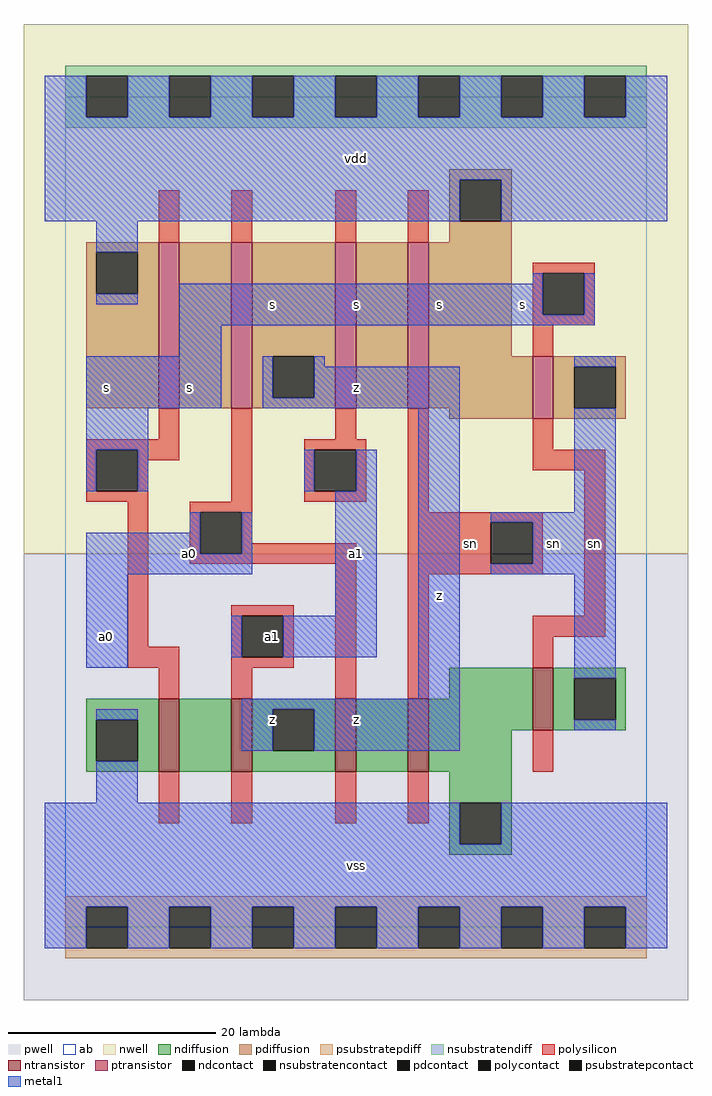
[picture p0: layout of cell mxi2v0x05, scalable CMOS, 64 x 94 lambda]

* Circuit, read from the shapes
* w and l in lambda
.subckt mxi2v0x05 a0 a1 s sn vdd vss z
M1 n1 s vss vss nfet w=7 l=2
M2 z a1 n1 vss nfet w=7 l=2
M3 n2 a0 z vss nfet w=7 l=2
M4 vss sn n2 vss nfet w=7 l=2
M5 sn s vss vss nfet w=6 l=2
M6 n3 s vdd vdd pfet w=16 l=2
M7 z a0 n3 vdd pfet w=16 l=2
M8 n4 a1 z vdd pfet w=16 l=2
M9 vdd sn n4 vdd pfet w=16 l=2
M10 sn s vdd vdd pfet w=6 l=2
.ends

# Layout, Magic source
magic
tech scmos
<< ab >>
rect 0 0 56 80
<< pwell >>
rect -4 -7 60 36
<< nwell >>
rect -4 36 60 87
<< polysilicon >>
rect 9 66 11 71
rect 16 66 18 71
rect 26 66 28 71
rect 33 66 35 71
rect 45 63 51 64
rect 45 59 46 63
rect 50 59 51 63
rect 45 58 51 59
rect 45 55 47 58
rect 9 47 11 50
rect 2 46 11 47
rect 2 42 3 46
rect 7 45 11 46
rect 7 42 8 45
rect 2 41 8 42
rect 16 41 18 50
rect 26 47 28 50
rect 23 46 29 47
rect 23 42 24 46
rect 28 42 29 46
rect 23 41 29 42
rect 6 27 8 41
rect 12 40 18 41
rect 12 36 13 40
rect 17 37 18 40
rect 33 40 35 50
rect 45 46 47 49
rect 45 44 52 46
rect 33 39 46 40
rect 17 36 28 37
rect 12 35 28 36
rect 16 30 22 31
rect 6 25 11 27
rect 9 22 11 25
rect 16 26 17 30
rect 21 26 22 30
rect 16 25 22 26
rect 16 22 18 25
rect 26 22 28 35
rect 33 35 41 39
rect 45 35 46 39
rect 33 34 46 35
rect 33 22 35 34
rect 50 30 52 44
rect 45 28 52 30
rect 45 25 47 28
rect 45 15 47 19
rect 9 10 11 15
rect 16 10 18 15
rect 26 10 28 15
rect 33 10 35 15
<< ndiffusion >>
rect 37 22 45 25
rect 2 20 9 22
rect 2 16 3 20
rect 7 16 9 20
rect 2 15 9 16
rect 11 15 16 22
rect 18 21 26 22
rect 18 17 20 21
rect 24 17 26 21
rect 18 15 26 17
rect 28 15 33 22
rect 35 19 45 22
rect 47 24 54 25
rect 47 20 49 24
rect 53 20 54 24
rect 47 19 54 20
rect 35 15 43 19
rect 37 12 43 15
rect 37 8 38 12
rect 42 8 43 12
rect 37 7 43 8
<< pdiffusion >>
rect 37 72 43 73
rect 37 68 38 72
rect 42 68 43 72
rect 37 66 43 68
rect 2 65 9 66
rect 2 61 3 65
rect 7 61 9 65
rect 2 50 9 61
rect 11 50 16 66
rect 18 55 26 66
rect 18 51 20 55
rect 24 51 26 55
rect 18 50 26 51
rect 28 50 33 66
rect 35 55 43 66
rect 35 50 45 55
rect 37 49 45 50
rect 47 54 54 55
rect 47 50 49 54
rect 53 50 54 54
rect 47 49 54 50
<< metal1 >>
rect -2 78 2 82
rect 6 78 10 82
rect 14 78 18 82
rect 22 78 26 82
rect 30 78 34 82
rect 38 78 42 82
rect 46 78 50 82
rect 54 78 58 82
rect -2 72 58 78
rect -2 68 38 72
rect 42 68 58 72
rect 3 65 7 68
rect 45 62 46 63
rect 3 60 7 61
rect 11 59 46 62
rect 50 59 51 63
rect 11 58 51 59
rect 11 55 15 58
rect 2 50 15 55
rect 19 51 20 55
rect 24 54 25 55
rect 49 54 53 55
rect 24 51 38 54
rect 19 50 38 51
rect 2 46 8 50
rect 2 42 3 46
rect 7 42 8 46
rect 23 42 24 46
rect 28 42 30 46
rect 12 38 13 40
rect 2 36 13 38
rect 17 36 18 40
rect 2 34 18 36
rect 2 25 6 34
rect 26 30 30 42
rect 16 26 17 30
rect 21 26 30 30
rect 34 22 38 50
rect 49 40 53 50
rect 41 39 53 40
rect 45 35 53 39
rect 41 34 53 35
rect 17 21 38 22
rect 3 20 7 21
rect 17 17 20 21
rect 24 17 38 21
rect 49 24 53 34
rect 49 19 53 20
rect 3 12 7 16
rect -2 8 38 12
rect 42 8 58 12
rect -2 2 58 8
rect -2 -2 2 2
rect 6 -2 10 2
rect 14 -2 18 2
rect 22 -2 26 2
rect 30 -2 34 2
rect 38 -2 42 2
rect 46 -2 50 2
rect 54 -2 58 2
<< ntransistor >>
rect 9 15 11 22
rect 16 15 18 22
rect 26 15 28 22
rect 33 15 35 22
rect 45 19 47 25
<< ptransistor >>
rect 9 50 11 66
rect 16 50 18 66
rect 26 50 28 66
rect 33 50 35 66
rect 45 49 47 55
<< polycontact >>
rect 46 59 50 63
rect 3 42 7 46
rect 24 42 28 46
rect 13 36 17 40
rect 17 26 21 30
rect 41 35 45 39
<< ndcontact >>
rect 3 16 7 20
rect 20 17 24 21
rect 49 20 53 24
rect 38 8 42 12
<< pdcontact >>
rect 38 68 42 72
rect 3 61 7 65
rect 20 51 24 55
rect 49 50 53 54
<< psubstratepcontact >>
rect 2 -2 6 2
rect 10 -2 14 2
rect 18 -2 22 2
rect 26 -2 30 2
rect 34 -2 38 2
rect 42 -2 46 2
rect 50 -2 54 2
<< nsubstratencontact >>
rect 2 78 6 82
rect 10 78 14 82
rect 18 78 22 82
rect 26 78 30 82
rect 34 78 38 82
rect 42 78 46 82
rect 50 78 54 82
<< psubstratepdiff >>
rect 0 2 56 3
rect 0 -2 2 2
rect 6 -2 10 2
rect 14 -2 18 2
rect 22 -2 26 2
rect 30 -2 34 2
rect 38 -2 42 2
rect 46 -2 50 2
rect 54 -2 56 2
rect 0 -3 56 -2
<< nsubstratendiff >>
rect 0 82 56 83
rect 0 78 2 82
rect 6 78 10 82
rect 14 78 18 82
rect 22 78 26 82
rect 30 78 34 82
rect 38 78 42 82
rect 46 78 50 82
rect 54 78 56 82
rect 0 77 56 78
<< labels >>
rlabel polysilicon 39 37 39 37 6 sn
rlabel metal1 4 28 4 28 6 a0
rlabel metal1 4 52 4 52 6 s
rlabel metal1 12 36 12 36 6 a0
rlabel metal1 12 52 12 52 6 s
rlabel metal1 28 6 28 6 6 vss
rlabel polycontact 20 28 20 28 6 a1
rlabel metal1 20 20 20 20 6 z
rlabel metal1 28 20 28 20 6 z
rlabel metal1 28 36 28 36 6 a1
rlabel metal1 28 52 28 52 6 z
rlabel metal1 20 60 20 60 6 s
rlabel metal1 28 60 28 60 6 s
rlabel metal1 28 74 28 74 6 vdd
rlabel metal1 36 32 36 32 6 z
rlabel metal1 36 60 36 60 6 s
rlabel metal1 44 60 44 60 6 s
rlabel metal1 47 37 47 37 6 sn
rlabel metal1 51 37 51 37 6 sn
<< end >>
